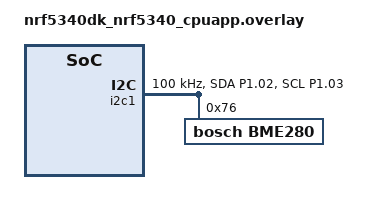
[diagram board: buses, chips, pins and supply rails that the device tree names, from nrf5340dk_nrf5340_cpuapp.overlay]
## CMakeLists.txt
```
# SPDX-License-Identifier: Apache-2.0

cmake_minimum_required(VERSION 3.20.0)

# Set up Zephyr
find_package(Zephyr REQUIRED HINTS $ENV{ZEPHYR_BASE})
project(hello_world)

# Include the main application source file
target_sources(app PRIVATE src/main.c)

# Custom files and folders

target_sources(app PRIVATE
    src/remote_service/remote.c)

zephyr_library_include_directories(src/remote_service)
```

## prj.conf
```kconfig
#Button config
CONFIG_DK_LIBRARY=y

#Sensor config
CONFIG_SENSOR=y
CONFIG_STDOUT_CONSOLE=y
CONFIG_I2C=y
CONFIG_CBPRINTF_FP_SUPPORT=y
CONFIG_BME280=y
CONFIG_I2C_NRFX=y
CONFIG_PRINTK=y

# Configure logger
CONFIG_LOG=y
CONFIG_USE_SEGGER_RTT=n
CONFIG_LOG_BACKEND_RTT=n
CONFIG_LOG_BACKEND_UART=y
CONFIG_LOG_DEFAULT_LEVEL=3

# Configure Bluetooth
CONFIG_BT=y
CONFIG_BT_PERIPHERAL=y
CONFIG_BT_DEVICE_NAME="Sensor Data"
CONFIG_BT_DEVICE_APPEARANCE=0
CONFIG_BT_MAX_CONN=1
CONFIG_BT_LL_SOFTDEVICE=y
CONFIG_ASSERT=y
```

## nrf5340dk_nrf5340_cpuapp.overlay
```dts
&pinctrl {
	i2c1_default_alt: i2c1_default_alt {
		group2 {
			psels = <NRF_PSEL(TWIM_SDA, 1, 02)>, <NRF_PSEL(TWIM_SCL, 1, 03)>;
		};
	};

	i2c1_default_sleep: i2c1_default_sleep {
		group3 {
			psels = <NRF_PSEL(TWIM_SDA, 1, 02)>, <NRF_PSEL(TWIM_SCL, 1, 03)>;
			low-power-enable;
		};
	};
};

&i2c1 {
	status = "okay";
	compatible = "nordic,nrf-twim";
	pinctrl-0 = <&i2c1_default_alt>;
	pinctrl-1 = <&i2c1_default_sleep>;
	pinctrl-names = "default", "sleep";
	clock-frequency = < I2C_BITRATE_STANDARD >;
	bme280@76 {
		compatible = "bosch,bme280";
		reg = <0x76>;
		label = "BME280";
	};
};
```

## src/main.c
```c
#include <zephyr/kernel.h>
#include <zephyr/logging/log.h>
#include <dk_buttons_and_leds.h>
#include <zephyr/device.h>
#include <zephyr/devicetree.h>
#include <zephyr/drivers/sensor.h>

#include "remote.h"

#define LOG_MODULE_NAME app
LOG_MODULE_REGISTER(LOG_MODULE_NAME);

#define RUN_STATUS_LED DK_LED1
#define CONN_STATUS_LED DK_LED2
#define RUN_INTERVAL 1000

static struct bt_conn *current_conn;

/* Declarations */
void on_connected(struct bt_conn *conn, uint8_t err);
void on_disconnected(struct bt_conn *conn, uint8_t reason);
void on_notif_changed(enum bt_button_notifications_enabled status);
void on_data_received(struct bt_conn *conn, const uint8_t *const data, uint16_t len);

struct bt_conn_cb bluetooth_callbacks = {
	.connected 		= on_connected,
	.disconnected 	= on_disconnected,
};
struct bt_remote_service_cb remote_callbacks = {
	.notif_changed = on_notif_changed,
    .data_received = on_data_received,
};

/* Callbacks */

void on_connected(struct bt_conn *conn, uint8_t err)
{
	if(err) {
		LOG_ERR("connection err: %d", err);
		return;
	}
	LOG_INF("Connected.");
	current_conn = bt_conn_ref(conn);
	dk_set_led_on(CONN_STATUS_LED);
}

void on_disconnected(struct bt_conn *conn, uint8_t reason)
{
	LOG_INF("Disconnected (reason: %d)", reason);
	dk_set_led_off(CONN_STATUS_LED);
	if(current_conn) {
		bt_conn_unref(current_conn);
		current_conn = NULL;
	}
}

void on_notif_changed(enum bt_button_notifications_enabled status)    
{
	if (status == BT_BUTTON_NOTIFICATIONS_ENABLED) {
		LOG_INF("Notifications enabled");
	}
	else {
		LOG_INF("Notificatons disabled");
	}
}

void on_data_received(struct bt_conn *conn, const uint8_t *const data, uint16_t len)
{
	uint8_t temp_str[len+1];
	memcpy(temp_str, data, len);
	temp_str[len] = 0x00;

	LOG_INF("Received data on conn %p. Len: %d", (void *)conn, len);
	LOG_INF("Data: %s", temp_str);
}

/*Sensor handler*/

static const struct device *get_bme280_device(void)
{
	const struct device *const dev = DEVICE_DT_GET_ANY(bosch_bme280);

	if (dev == NULL) {
		/* No such node, or the node does not have status "okay". */
		printk("\nError: no device found.\n");
		return NULL;
	}

	if (!device_is_ready(dev)) {
		printk("\nError: Device \"%s\" is not ready; "
		       "check the driver initialization logs for errors.\n",
		       dev->name);
		return NULL;
	}

	printk("Found device \"%s\", getting sensor data\n", dev->name);
	return dev;
}

/*Button handler*/

void button_handler(uint32_t button_state, uint32_t has_changed)
{
	int button_pressed = 0;
	int err;
	if (has_changed & button_state)
	{
		switch (has_changed)
		{
			case DK_BTN1_MSK:
				button_pressed = 1;
				break;
			case DK_BTN2_MSK:
				button_pressed = 2;
				break;
			case DK_BTN3_MSK:
				button_pressed = 3;
				break;
			case DK_BTN4_MSK:
				button_pressed = 4;
				break;
			default:
				break;
		}
		LOG_INF("Button %d pressed.", button_pressed);
		set_button_status(button_pressed);
		err = send_button_notification(current_conn, button_pressed, 1);
		if (err) {
			LOG_ERR("couldn't send notification (err: %d)", err);
		}
	}
}

/* Configurations */

static void configure_dk_buttons_leds(void)
{
	int err;

	err = dk_buttons_init(button_handler);
	if (err)
	{
		LOG_ERR("Cannot init buttons (err: %d)", err);
	}
	err = dk_leds_init();
	if (err)
	{
		LOG_ERR("Cannot init LEDs (err: %d)", err);
	}
}



/* main */

void main(void)
{
	int err;
	int blink_status = 0;
	LOG_INF("Hello World! %s\n", CONFIG_BOARD);

	/*Button setup*/
	configure_dk_buttons_leds();

	/*Sensor setup*/
	const struct device *dev = get_bme280_device();
	if (dev == NULL) {
		return 0;
	}
	/*BLE setup*/
	err = bluetooth_init(&bluetooth_callbacks, &remote_callbacks);
	if (err) {
		LOG_ERR("bt_enable returned %d", err);
	}

	LOG_INF("Running...");
	for (;;) {
		dk_set_led(RUN_STATUS_LED, (blink_status++%2));

		struct sensor_value temp, press, humidity;
		sensor_sample_fetch(dev);
		sensor_channel_get(dev, SENSOR_CHAN_AMBIENT_TEMP, &temp);
		sensor_channel_get(dev, SENSOR_CHAN_PRESS, &press);
		sensor_channel_get(dev, SENSOR_CHAN_HUMIDITY, &humidity);

    // Combine integer and fractional parts
    float temp_value = temp.val1 + (temp.val2 / 1000000.0f);
    float press_value = press.val1 + (press.val2 / 1000000.0f);
    float humidity_value = humidity.val1 + (humidity.val2 / 1000000.0f);

    printk("temp: %.6f; press: %.6f; humidity: %.6f\n", temp_value, press_value, humidity_value);

    set_temperature_status(temp_value);
    send_temperature_notification(current_conn, temp_value);

    set_pressure_status(press_value);
    send_pressure_notification(current_conn, press_value);

    set_humidity_status(humidity_value);
    send_humidity_notification(current_conn, humidity_value);

	k_sleep(K_MSEC(RUN_INTERVAL));
	}
}
```
